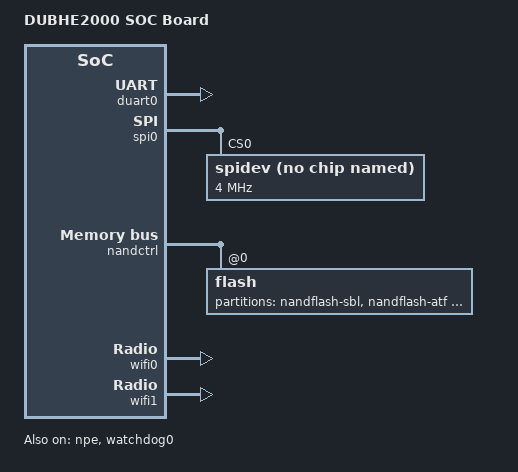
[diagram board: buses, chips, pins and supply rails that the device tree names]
// SPDX-License-Identifier: (GPL-2.0+ OR MIT)
/*
 * Device Tree Include file for Clourney dubhe2000 family SoC.
 *
 * Copyright (C) 2022-2023 Clourney Semiconductor - All Rights Reserved.
 *
 */

/dts-v1/;
#include "clourney-dubhe2000.dtsi"

/ {
	model = "DUBHE2000 SOC Board";
	compatible = "clourney,dubhe2000";

	aliases {
		serial0 = &duart0;
		spidev0 = &spi0;
	};

	chosen {
		stdout-path = "serial0:9600n8";
	};
};

&duart0 {
	status = "ok";
};

&spi0 {
	status = "ok";
	spidev@0 {
		spi-max-frequency = <4000000>;
		reg = <0>;
		compatible = "linux,spidev";
	};
};

&nandctrl {
	status = "ok";

	flash@0 {
		linux,mtd-name= "micron,mt29f1g08abb";
		#address-cells = <1>;
		#size-cells = <1>;
		reg = <0>;

		partition@0 {
			label = "nandflash-sbl";
			reg = <0x0 0x20000>;
		};

		partition@0x20000 {
			label = "nandflash-atf";
			reg = <0x20000 0x60000>;
		};

		partition@0x80000 {
			label = "nandflash-uboot";
			reg = <0x80000 0x80000>;
		};

		partition@0x100000 {
			label = "nandflash-dtb";
			reg = <0x100000 0x100000>;
		};

		partition@0x200000 {
			label = "nandflash-kernel";
			reg = <0x200000 0x1e00000>;
		};

		partition@0x2000000 {
			label = "nandflash-rootfs";
			reg = <0x2000000 0x6000000>;
		};
	};
};

&npe  { status = "ok"; };

&wifi0 { status = "ok"; };

&wifi1 { status = "ok"; };

&watchdog0 {
	timeout-sec = <WDT_TIMEOUT_S>;
	status = "ok";
};

&gpio0 { status = "ok"; };

&gpio1 { status = "ok"; };

&gpio_keys { status = "ok"; };

&gpio_leds { status = "ok"; };
